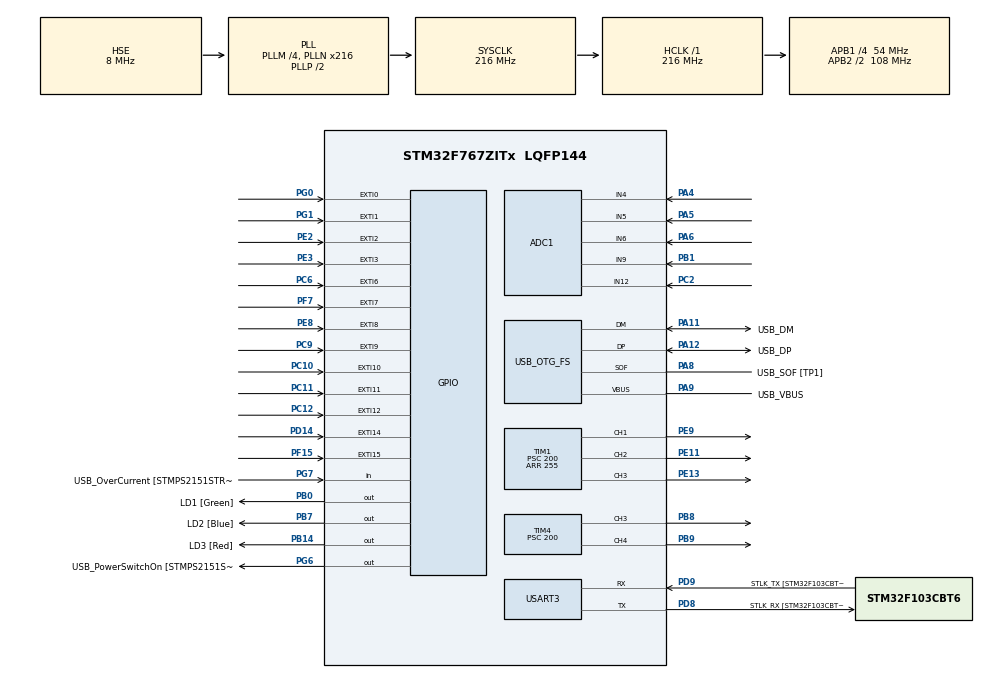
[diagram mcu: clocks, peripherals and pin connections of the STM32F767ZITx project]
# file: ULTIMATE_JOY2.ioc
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ADC1.Channel-0\#ChannelRegularConversion=ADC_CHANNEL_9
ADC1.Channel-1\#ChannelRegularConversion=ADC_CHANNEL_4
ADC1.Channel-2\#ChannelRegularConversion=ADC_CHANNEL_5
ADC1.Channel-3\#ChannelRegularConversion=ADC_CHANNEL_6
ADC1.Channel-4\#ChannelRegularConversion=ADC_CHANNEL_12
ADC1.ClockPrescaler=ADC_CLOCK_SYNC_PCLK_DIV8
ADC1.ContinuousConvMode=ENABLE
ADC1.DMAContinuousRequests=ENABLE
ADC1.NbrOfConversion=5
ADC1.NbrOfConversionFlag=1
ADC1.Rank-0\#ChannelRegularConversion=1
ADC1.Rank-1\#ChannelRegularConversion=2
ADC1.Rank-2\#ChannelRegularConversion=3
ADC1.Rank-3\#ChannelRegularConversion=4
ADC1.Rank-4\#ChannelRegularConversion=5
ADC1.SamplingTime-0\#ChannelRegularConversion=ADC_SAMPLETIME_15CYCLES
ADC1.SamplingTime-1\#ChannelRegularConversion=ADC_SAMPLETIME_15CYCLES
ADC1.SamplingTime-2\#ChannelRegularConversion=ADC_SAMPLETIME_15CYCLES
ADC1.SamplingTime-3\#ChannelRegularConversion=ADC_SAMPLETIME_15CYCLES
ADC1.SamplingTime-4\#ChannelRegularConversion=ADC_SAMPLETIME_15CYCLES
ADC1.ScanConvMode=ADC_SCAN_ENABLE
ADC1.master=1
Dma.ADC1.0.Direction=DMA_PERIPH_TO_MEMORY
Dma.ADC1.0.FIFOMode=DMA_FIFOMODE_ENABLE
Dma.ADC1.0.FIFOThreshold=DMA_FIFO_THRESHOLD_FULL
Dma.ADC1.0.Instance=DMA2_Stream0
Dma.ADC1.0.MemBurst=DMA_MBURST_SINGLE
Dma.ADC1.0.MemDataAlignment=DMA_MDATAALIGN_WORD
Dma.ADC1.0.MemInc=DMA_MINC_ENABLE
Dma.ADC1.0.Mode=DMA_CIRCULAR
Dma.ADC1.0.PeriphBurst=DMA_PBURST_SINGLE
Dma.ADC1.0.PeriphDataAlignment=DMA_PDATAALIGN_WORD
Dma.ADC1.0.PeriphInc=DMA_PINC_DISABLE
Dma.ADC1.0.Priority=DMA_PRIORITY_LOW
Dma.Request0=ADC1
Mcu.Family=STM32F7
Mcu.Name=STM32F767ZITx
Mcu.Package=LQFP144
NVIC.DMA2_Stream0_IRQn=true\:1\:0\:true\:false\:true\:false\:true\:true
NVIC.EXTI0_IRQn=true\:1\:0\:true\:false\:true\:true\:true\:true
NVIC.EXTI15_10_IRQn=true\:1\:0\:true\:false\:true\:true\:true\:true
NVIC.EXTI1_IRQn=true\:1\:0\:true\:false\:true\:true\:true\:true
NVIC.EXTI2_IRQn=true\:1\:0\:true\:false\:true\:true\:true\:true
NVIC.EXTI3_IRQn=true\:1\:0\:true\:false\:true\:true\:true\:true
NVIC.EXTI9_5_IRQn=true\:0\:0\:false\:false\:true\:true\:true\:true
NVIC.OTG_FS_IRQn=true\:0\:0\:false\:false\:true\:false\:true\:true
NVIC.PriorityGroup=NVIC_PRIORITYGROUP_2
NVIC.TIM6_DAC_IRQn=true\:1\:0\:true\:false\:true\:true\:true\:true
PA0/WKUP.Signal=ADCx_IN0
PA1.GPIO_Label=RMII_REF_CLK [LAN8742A-CZ-TR_REFCLK0]
PA1.Signal=ETH_REF_CLK
PA10.GPIO_Label=USB_ID
PA10.Signal=USB_OTG_FS_ID
PA11.GPIO_Label=USB_DM
PA11.Mode=Device_Only
PA11.Signal=USB_OTG_FS_DM
PA12.GPIO_Label=USB_DP
PA12.Mode=Device_Only
PA12.Signal=USB_OTG_FS_DP
PA13.GPIO_Label=TMS
PA13.Mode=Serial_Wire
PA13.Signal=SYS_JTMS-SWDIO
PA14.GPIO_Label=TCK
PA14.Mode=Serial_Wire
PA14.Signal=SYS_JTCK-SWCLK
PA2.GPIO_Label=RMII_MDIO [LAN8742A-CZ-TR_MDIO]
PA2.Signal=ETH_MDIO
PA4.Signal=ADCx_IN4
PA5.Signal=ADCx_IN5
PA6.Signal=ADCx_IN6
PA8.GPIO_Label=USB_SOF [TP1]
PA8.Mode=Activate_SOF_FS
PA8.Signal=USB_OTG_FS_SOF
PA9.GPIO_Label=USB_VBUS
PA9.Mode=Activate_VBUS
PA9.Signal=USB_OTG_FS_VBUS
PB0.GPIO_Label=LD1 [Green]
PB0.Signal=GPIO_Output
PB1.Signal=ADCx_IN9
PB13.GPIO_Label=RMII_TXD1 [LAN8742A-CZ-TR_TXD1]
PB13.Signal=ETH_TXD1
PB14.GPIO_Label=LD3 [Red]
PB14.Signal=GPIO_Output
PB3.GPIO_Label=SWO
PB3.Signal=SYS_JTDO-SWO
PB7.GPIO_Label=LD2 [Blue]
PB7.Signal=GPIO_Output
PB8.Signal=S_TIM4_CH3
PB9.Signal=S_TIM4_CH4
PC1.GPIO_Label=RMII_MDC [LAN8742A-CZ-TR_MDC]
PC1.Signal=ETH_MDC
PC10.GPIO_ModeDefaultEXTI=GPIO_MODE_IT_RISING_FALLING
PC10.GPIO_PuPd=GPIO_PULLDOWN
PC10.Signal=GPXTI10
PC11.GPIO_ModeDefaultEXTI=GPIO_MODE_IT_RISING_FALLING
PC11.GPIO_PuPd=GPIO_PULLDOWN
PC11.Signal=GPXTI11
PC12.GPIO_ModeDefaultEXTI=GPIO_MODE_IT_RISING_FALLING
PC12.GPIO_PuPd=GPIO_PULLDOWN
PC12.Signal=GPXTI12
PC14/OSC32_IN.Mode=LSE-External-Oscillator
PC14/OSC32_IN.Signal=RCC_OSC32_IN
PC15/OSC32_OUT.Mode=LSE-External-Oscillator
PC15/OSC32_OUT.Signal=RCC_OSC32_OUT
PC2.Signal=ADCx_IN12
PC6.GPIO_ModeDefaultEXTI=GPIO_MODE_IT_RISING_FALLING
PC6.GPIO_PuPd=GPIO_PULLDOWN
PC6.Signal=GPXTI6
PC9.GPIO_ModeDefaultEXTI=GPIO_MODE_IT_RISING_FALLING
PC9.GPIO_PuPd=GPIO_PULLDOWN
PC9.Signal=GPXTI9
PD14.GPIO_ModeDefaultEXTI=GPIO_MODE_IT_RISING_FALLING
PD14.GPIO_PuPd=GPIO_PULLDOWN
PD14.Signal=GPXTI14
PD8.GPIO_Label=STLK_RX [STM32F103CBT6_PA3]
PD8.Mode=Asynchronous
PD8.Signal=USART3_TX
PD9.GPIO_Label=STLK_TX [STM32F103CBT6_PA2]
PD9.Mode=Asynchronous
PD9.Signal=USART3_RX
PE11.Signal=S_TIM1_CH2
PE13.Signal=S_TIM1_CH3
PE2.GPIO_ModeDefaultEXTI=GPIO_MODE_IT_RISING_FALLING
PE2.GPIO_PuPd=GPIO_PULLDOWN
PE2.Signal=GPXTI2
PE3.GPIO_ModeDefaultEXTI=GPIO_MODE_IT_RISING_FALLING
PE3.GPIO_PuPd=GPIO_PULLDOWN
PE3.Signal=GPXTI3
PE8.GPIO_ModeDefaultEXTI=GPIO_MODE_IT_RISING_FALLING
PE8.GPIO_PuPd=GPIO_PULLDOWN
PE8.Signal=GPXTI8
PE9.Signal=S_TIM1_CH1
PF15.GPIO_ModeDefaultEXTI=GPIO_MODE_IT_RISING_FALLING
PF15.GPIO_PuPd=GPIO_PULLDOWN
PF15.Signal=GPXTI15
PF7.GPIO_ModeDefaultEXTI=GPIO_MODE_IT_RISING_FALLING
PF7.GPIO_PuPd=GPIO_PULLDOWN
PF7.Signal=GPXTI7
PG0.GPIO_ModeDefaultEXTI=GPIO_MODE_IT_RISING_FALLING
PG0.GPIO_PuPd=GPIO_PULLDOWN
PG0.Signal=GPXTI0
PG1.GPIO_ModeDefaultEXTI=GPIO_MODE_IT_RISING_FALLING
PG1.GPIO_PuPd=GPIO_PULLDOWN
PG1.Signal=GPXTI1
PG11.GPIO_Label=RMII_TX_EN [LAN8742A-CZ-TR_TXEN]
PG11.Signal=ETH_TX_EN
PG13.GPIO_Label=RMII_TXD0 [LAN8742A-CZ-TR_TXD0]
PG13.Signal=ETH_TXD0
PG6.GPIO_Label=USB_PowerSwitchOn [STMPS2151STR_EN]
PG6.Signal=GPIO_Output
PG7.GPIO_Label=USB_OverCurrent [STMPS2151STR_FAULT]
PG7.Signal=GPIO_Input
PH0/OSC_IN.GPIO_Label=MCO [STM32F103CBT6_PA8]
PH0/OSC_IN.Mode=HSE-External-Clock-Source
PH0/OSC_IN.Signal=RCC_OSC_IN
PH1/OSC_OUT.Mode=HSE-External-Clock-Source
PH1/OSC_OUT.Signal=RCC_OSC_OUT
ProjectManager.HeapSize=0x200
ProjectManager.StackSize=0x400
ProjectManager.TargetToolchain=STM32CubeIDE
RCC.48MHZClocksFreq_Value=24000000
RCC.AHBFreq_Value=216000000
RCC.APB1CLKDivider=RCC_HCLK_DIV4
RCC.APB1Freq_Value=54000000
RCC.APB1TimFreq_Value=108000000
RCC.APB2CLKDivider=RCC_HCLK_DIV2
RCC.APB2Freq_Value=108000000
RCC.APB2TimFreq_Value=216000000
RCC.CortexFreq_Value=216000000
RCC.HCLKFreq_Value=216000000
RCC.HSE_VALUE=8000000
RCC.HSI_VALUE=16000000
RCC.PLLM=4
RCC.PLLMUL=RCC_PLL_MUL9
RCC.PLLN=216
RCC.PLLQ=9
RCC.PRESCALERUSB=RCC_USBCLKSOURCE_PLL_DIV1_5
RCC.SYSCLKFreq_VALUE=216000000
RCC.SYSCLKSource=RCC_SYSCLKSOURCE_PLLCLK
RCC.SYSCLKSourceVirtual=RCC_SYSCLKSOURCE_PLLCLK
RCC.USBFreq_Value=48000000
RCC.VCOOutputFreq_Value=432000000
SH.ADCx_IN0.0=ADC1_IN0
SH.ADCx_IN12.0=ADC1_IN12,IN12
SH.ADCx_IN4.0=ADC1_IN4,IN4
SH.ADCx_IN5.0=ADC1_IN5,IN5
SH.ADCx_IN6.0=ADC1_IN6,IN6
SH.ADCx_IN9.0=ADC1_IN9,IN9
SH.S_TIM1_CH1.0=TIM1_CH1,PWM Generation1 CH1
SH.S_TIM1_CH2.0=TIM1_CH2,PWM Generation2 CH2
SH.S_TIM1_CH3.0=TIM1_CH3,PWM Generation3 CH3
SH.S_TIM4_CH3.0=TIM4_CH3,PWM Generation3 CH3
SH.S_TIM4_CH4.0=TIM4_CH4,PWM Generation4 CH4
TIM1.Channel-PWM\ Generation1\ CH1=TIM_CHANNEL_1
TIM1.Channel-PWM\ Generation2\ CH2=TIM_CHANNEL_2
TIM1.Channel-PWM\ Generation3\ CH3=TIM_CHANNEL_3
TIM1.Period=255
TIM1.Prescaler=200
TIM4.Channel-PWM\ Generation3\ CH3=TIM_CHANNEL_3
TIM4.Channel-PWM\ Generation4\ CH4=TIM_CHANNEL_4
TIM4.Period=255
TIM4.Prescaler=200
TIM6.Period=300
TIM6.Prescaler=9600
USART3.VirtualMode-Asynchronous=VM_ASYNC
USB_DEVICE.CLASS_NAME_FS=HID
USB_DEVICE.VirtualMode-HID_FS=Hid
USB_DEVICE.VirtualModeFS=Hid_FS
USB_OTG_FS.VirtualMode=Device_Only
VP_TIM1_VS_ClockSourceINT.Mode=Internal
VP_TIM4_VS_ClockSourceINT.Mode=Internal
VP_TIM6_VS_ClockSourceINT.Mode=Enable_Timer
VP_USB_DEVICE_VS_USB_DEVICE_HID_FS.Mode=HID_FS
board=NUCLEO-F767ZI

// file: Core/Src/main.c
/* USER CODE BEGIN Header */
/**
 ******************************************************************************
 * @file           : main.c
 * @brief          : Main program body
 ******************************************************************************
 * @attention
 *
 * Copyright (c) 2023 STMicroelectronics.
 * All rights reserved.
 *
 * This software is licensed under terms that can be found in the LICENSE file
 * in the root directory of this software component.
 * If no LICENSE file comes with this software, it is provided AS-IS.
 *
 ******************************************************************************
 */
/* USER CODE END Header */
#include "main.h"
#include "adc.h"
#include "dma.h"
#include "tim.h"
#include "usart.h"
#include "usb_device.h"
#include "gpio.h"

/* USER CODE BEGIN Includes */
#include "usbd_hid.h"
#include <stdarg.h>
#include <button.h>
#include <joystick.h>
#include <rgb.h>
#include <macro.h>
#define max(a,b) \
   ({ __typeof__ (a) _a = (a); \
       __typeof__ (b) _b = (b); \
     _a > _b ? _a : _b; })
/* USER CODE END Includes */

/* USER CODE BEGIN PV */
extern USBD_HandleTypeDef hUsbDeviceFS;
volatile uint32_t adc_dma_result[adc_channel_count];
volatile uint8_t reportBuffer[COMMAND_SIZE] = { 0 };
volatile int16_t forces[2] = { 0 };
volatile uint32_t macroDownTick = 0;
/* USER CODE END PV */

void SystemClock_Config(void);

/* USER CODE BEGIN 0 */
void sendString(UART_HandleTypeDef huart, char *tosend) {
	while (__HAL_UART_GET_FLAG(&huart,UART_FLAG_TC) == RESET) {
	}
	HAL_UART_Transmit(&huart, (uint8_t*) tosend, strlen(tosend),
	HAL_MAX_DELAY);
}
void setcmd_Button(uint8_t button, uint8_t state) {
	uint8_t *target = (button < 8) ? &reportBuffer[0] : &reportBuffer[1];
	uint8_t realButton = button % 8;
	if (state) {
		*target |= (1 << realButton);
	} else {
		*target ^= (1 << realButton);
	}
}
void setcmd_LeftXY(int8_t x, int8_t y) {
	reportBuffer[2] = x;
	reportBuffer[3] = y;
}
void setcmd_RightXY(int8_t x, int8_t y) {
	reportBuffer[4] = x;
	reportBuffer[5] = y;
}

int average_64(int x){
	static int samples[16];
	static int i = 0;
	static int total = 0;

	total += x- samples[i];
	samples[i] = x;

	i = (i==15?0:i+1);

	return total >> 4;
}

// map your rgb to each channel
void writeColor(Color c) {
	float brightness = (float)(4095 - average_64(adc_dma_result[4])) / (float)4096;
	htim1.Instance->CCR3 = c.blue * brightness;
	htim1.Instance->CCR2 = c.green * brightness;
	htim1.Instance->CCR1 = c.red * brightness;
}

void sendCustomReport(uint8_t buffer[COMMAND_SIZE]) {
	USBD_HID_SendReport(&hUsbDeviceFS, buffer, COMMAND_SIZE);
}

void sendReport() {
	sendCustomReport(reportBuffer);
}

void writeVibration() {
	htim4.Instance->CCR3 = (forces[0] > 3) ? forces[0] : 0;
	htim4.Instance->CCR4 = (forces[1] > 3) ? forces[1] : 0;
}
void DEBUGPRINTF(const char *format, ...) {
	static char buffer[500]; // You can adjust the buffer size as needed
	va_list args;
	va_start(args, format);
	vsnprintf(buffer, sizeof(buffer), format, args);
	va_end(args);
	sendString(huart3, buffer);
}

int led0LightAngle = 0;
void HAL_TIM_PeriodElapsedCallback(TIM_HandleTypeDef *htim) {
	if (htim->Instance == TIM6) {
		Color hsv = mkColor_sineLED(led0LightAngle);
		writeColor(hsv);
		writeVibration();
		if (getMacroState() == MACRO_STATE_PLAY) {
			led0LightAngle = (led0LightAngle + 10) % 360;
		} else if (getMacroState() == MACRO_STATE_NONE) {
			led0LightAngle = (led0LightAngle + 1) % 360;
		}

	}
}

void HAL_ADC_ConvCpltCallback(ADC_HandleTypeDef *hadc) {
	HAL_ADC_Stop_DMA(&hadc1);
	StickStateEvent ev = onSticksChanged(adc_dma_result);
	if (ev.isChanged) {
		setcmd_LeftXY(ev.x, ev.y);
		setcmd_RightXY(ev.Rx, ev.Ry);
		if (ev.x > 0) {
			forces[0] = ev.x;
		} else if (ev.x < 0) {
			forces[1] = -ev.x;
		}
//		forces[1] = MAX(abs(ev.x), abs(ev.y));
//		forces[0] = MAX(abs(ev.Rx), abs(ev.Ry));
		sendReport();
	}

	HAL_Delay(3);
//	DEBUGPRINTF("%u %u %u %u\n", x, y, Rx, Ry);
	HAL_ADC_Start_DMA(&hadc1, (uint32_t*) adc_dma_result, adc_channel_count);
}

void HAL_GPIO_EXTI_Callback(uint16_t GPIO_Pin) {
	ButtonStateEvent ev = onButtonPinINT(GPIO_Pin);
	if (ev.button == 0xFF)
		return;
	else if (ev.button == BUTTON_MACRO) {
		if (ev.state == 1) {
			macroDownTick = HAL_GetTick();
		} else if (HAL_GetTick() - macroDownTick > 500) {
			recordToggle();
		} else {
			playToggle();
		}
	} else {
		setcmd_Button(ev.button, ev.state);
		recordAdd(reportBuffer);
		sendReport();
		DEBUGPRINTF("%u %u %u %u %u %u\n", reportBuffer[0], reportBuffer[1],
				reportBuffer[2], reportBuffer[3], reportBuffer[4],
				reportBuffer[5]);
	}
	DEBUGPRINTF("%u %u\n", ev.button, ev.state);
}

/* USER CODE END 0 */

int main(void)
{

  /* MCU Configuration--------------------------------------------------------*/

  /* Reset of all peripherals, Initializes the Flash interface and the Systick. */
  HAL_Init();

  /* Configure the system clock */
  SystemClock_Config();

  /* Initialize all configured peripherals */
  MX_GPIO_Init();
  MX_DMA_Init();
  MX_USART3_UART_Init();
  MX_USB_DEVICE_Init();
  MX_ADC1_Init();
  MX_TIM6_Init();
  MX_TIM1_Init();
  MX_TIM4_Init();
  /* USER CODE BEGIN 2 */
	HAL_ADC_Start_DMA(&hadc1, (uint32_t*) adc_dma_result, adc_channel_count);
	HAL_TIM_PWM_Start(&htim1, TIM_CHANNEL_1);
	HAL_TIM_PWM_Start(&htim1, TIM_CHANNEL_2);
	HAL_TIM_PWM_Start(&htim1, TIM_CHANNEL_3);

	HAL_TIM_PWM_Start(&htim4, TIM_CHANNEL_3);
	HAL_TIM_PWM_Start(&htim4, TIM_CHANNEL_4);

	HAL_TIM_Base_Start_IT(&htim6);
	Action now;
  /* USER CODE END 2 */

  /* Infinite loop */
  /* USER CODE BEGIN WHILE */
	while (1) {
		if (getMacroState() == MACRO_STATE_PLAY) {
			now = nextAction();
			DEBUGPRINTF("%u %u %u %u %u %u %u\n", now.command[0],
					now.command[1], now.command[2], now.command[3],
					now.command[4], now.command[5], now.timeSpan);
			memcpy(reportBuffer, now.command, COMMAND_SIZE);
			HAL_Delay(now.timeSpan);
			sendReport();
		}
//		DEBUGPRINTF("LDR: %d\n",adc_dma_result[4]);
//		HAL_Delay(500);
		// array {ปุ่ม,ปุ่ม,x,y,z}
		// uint8_t HID_buffer[5] = { 1, 1, 0, 0, 0 };
    /* USER CODE END WHILE */

    /* USER CODE BEGIN 3 */
//		for (int i = 0; i < 16; i++) {
//			setcmd_Button(i, 1);
//			sendCommand();
//			HAL_Delay(300);
//			setcmd_Button(i, 0);
//			sendCommand();
//			HAL_Delay(100);
//		}
//		for (int i = -127; i < 127; i++) {
//			setcmd_LeftXY(i,i);
//			setcmd_RightXY(i,i);
//			sendCommand();
//			HAL_Delay(10);
//		}
	}
  /* USER CODE END 3 */
}

void SystemClock_Config(void)
{
  RCC_OscInitTypeDef RCC_OscInitStruct = {0};
  RCC_ClkInitTypeDef RCC_ClkInitStruct = {0};

  /** Configure LSE Drive Capability
  */
  HAL_PWR_EnableBkUpAccess();

  /** Configure the main internal regulator output voltage
  */
  __HAL_RCC_PWR_CLK_ENABLE();
  __HAL_PWR_VOLTAGESCALING_CONFIG(PWR_REGULATOR_VOLTAGE_SCALE1);

  /** Initializes the RCC Oscillators according to the specified parameters
  * in the RCC_OscInitTypeDef structure.
  */
  RCC_OscInitStruct.OscillatorType = RCC_OSCILLATORTYPE_HSE;
  RCC_OscInitStruct.HSEState = RCC_HSE_BYPASS;
  RCC_OscInitStruct.PLL.PLLState = RCC_PLL_ON;
  RCC_OscInitStruct.PLL.PLLSource = RCC_PLLSOURCE_HSE;
  RCC_OscInitStruct.PLL.PLLM = 4;
  RCC_OscInitStruct.PLL.PLLN = 216;
  RCC_OscInitStruct.PLL.PLLP = RCC_PLLP_DIV2;
  RCC_OscInitStruct.PLL.PLLQ = 9;
  RCC_OscInitStruct.PLL.PLLR = 2;
  if (HAL_RCC_OscConfig(&RCC_OscInitStruct) != HAL_OK)
  {
    Error_Handler();
  }

  /** Activate the Over-Drive mode
  */
  if (HAL_PWREx_EnableOverDrive() != HAL_OK)
  {
    Error_Handler();
  }

  /** Initializes the CPU, AHB and APB buses clocks
  */
  RCC_ClkInitStruct.ClockType = RCC_CLOCKTYPE_HCLK|RCC_CLOCKTYPE_SYSCLK
                              |RCC_CLOCKTYPE_PCLK1|RCC_CLOCKTYPE_PCLK2;
  RCC_ClkInitStruct.SYSCLKSource = RCC_SYSCLKSOURCE_PLLCLK;
  RCC_ClkInitStruct.AHBCLKDivider = RCC_SYSCLK_DIV1;
  RCC_ClkInitStruct.APB1CLKDivider = RCC_HCLK_DIV4;
  RCC_ClkInitStruct.APB2CLKDivider = RCC_HCLK_DIV2;

  if (HAL_RCC_ClockConfig(&RCC_ClkInitStruct, FLASH_LATENCY_7) != HAL_OK)
  {
    Error_Handler();
  }
}

void Error_Handler(void)
{
	__disable_irq();
	while (1) {
	}
}
